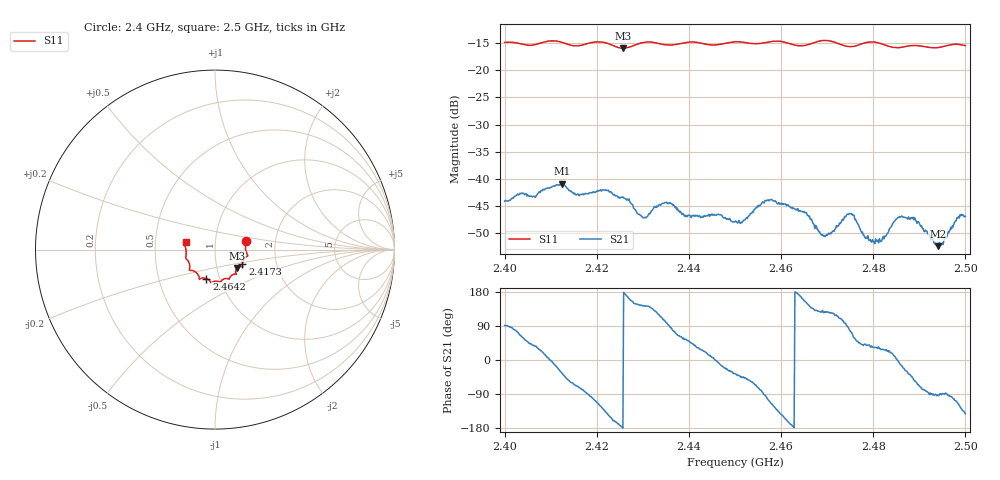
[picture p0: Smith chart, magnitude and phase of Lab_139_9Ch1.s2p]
# Hz S RI R 50
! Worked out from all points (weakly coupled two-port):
!   601 points, 2.4 GHz to 2.5 GHz, reference 50 ohm
!   highest |S21| = -40.85 dB at 2.4125 GHz (marker M1); lowest = -52.4 dB at 2.494 GHz (marker M2)
!   lowest |S11| = -15.9 dB at 2.4257 GHz (marker M3), VSWR 1.38, Z = 62.4 - j13.1 ohm
!   |S11| at or under -10 dB: start of sweep to end of sweep
!   S12 and S22 are empty: the file has one direction only
!   S11 on the Smith chart (normalised r, x): 2.4 GHz: 1.41, +0.14; 2.4173 GHz: 1.34, -0.23; 2.4642 GHz: 0.86, -0.29; 2.5 GHz: 0.72, +0.06
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2.4e9  0.1739 0.0493  -0.000124 0.00625  0 0  0 0
2.4125e9  0.1766 -0.038  0.00743 -0.00521  0 0  0 0
2.416667e9  0.1527 -0.0746  0.00171 -0.00699  0 0  0 0
2.417333e9  0.1523 -0.0823  0.000966 -0.0072  0 0  0 0
2.422e9  0.1516 -0.0946  -0.0059 -0.00531  0 0  0 0
2.425667e9  0.1224 -0.1026  -0.00685 -4.74e-05  0 0  0 0
2.430167e9  0.1179 -0.1368  -0.00356 0.00263  0 0  0 0
2.433333e9  0.1126 -0.1364  -0.00285 0.00487  0 0  0 0
2.435667e9  0.0965 -0.141  -0.000142 0.00604  0 0  0 0
2.45e9  0.0294 -0.1807  0.00327 -0.00235  0 0  0 0
2.4575e9  -0.0162 -0.1821  -0.00207 -0.00604  0 0  0 0
2.464167e9  -0.0484 -0.161  -0.00502 0.00104  0 0  0 0
2.466667e9  -0.0763 -0.1593  -0.00311 0.00285  0 0  0 0
2.469167e9  -0.0875 -0.1665  -0.00173 0.00244  0 0  0 0
2.474833e9  -0.1048 -0.1278  0.000871 0.00473  0 0  0 0
2.479833e9  -0.1429 -0.1141  0.0023 0.00153  0 0  0 0
2.483333e9  -0.1404 -0.0895  0.00307 0.0012  0 0  0 0
2.485667e9  -0.1478 -0.0658  0.00447 -0.000641  0 0  0 0
2.488667e9  -0.1622 -0.0478  0.00293 -0.00335  0 0  0 0
2.494e9  -0.1617 -0.00127  -0.000104 -0.00241  0 0  0 0
2.498667e9  -0.1697 0.0346  -0.00215 -0.00381  0 0  0 0
2.5e9  -0.1635 0.0416  -0.00359 -0.00279  0 0  0 0
